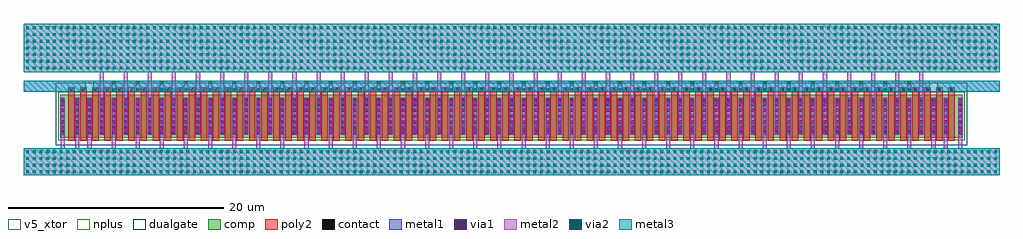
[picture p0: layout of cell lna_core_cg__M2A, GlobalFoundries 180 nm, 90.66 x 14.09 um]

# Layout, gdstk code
import gdstk
lib = gdstk.Library(unit=1e-6, precision=1e-09)
def R(c, l, rs):  # rectangles x0, y0, x1, y1
    for r in rs: c.add(gdstk.rectangle(r[:2], r[2:], *l))
def A(c, l, x, y, w, h, nx, ny, dx, dy):  # array of equal rectangles
    R(c, l, [(x+i*dx, y+j*dy, x+i*dx+w, y+j*dy+h) for i in range(nx) for j in range(ny)])
comp = (22, 0)
poly2 = (30, 0)
nplus = (32, 0)
contact = (33, 0)
metal1 = (34, 0)
via1 = (35, 0)
metal2 = (36, 0)
via2 = (38, 0)
metal3 = (42, 0)
dualgate = (55, 0)
v5_xtor = (112, 1)

lna_core_cg__m2a_pcell = lib.new_cell('lna_core_cg__M2A_pcell')
R(lna_core_cg__m2a_pcell, comp, [(-0.42,0,0,4), (0,0,82.98,4), (82.98,0,83.4,4)])
A(lna_core_cg__m2a_pcell, poly2, 0.31, -0.3, 0.6, 4.6, 74, 1, 1.12, 0)
A(lna_core_cg__m2a_pcell, poly2, 0.31, 4.3, 0.6, 0.36, 74, 1, 1.12, 0)
R(lna_core_cg__m2a_pcell, nplus, [(-0.59,-0.24,83.57,4.24)])
A(lna_core_cg__m2a_pcell, contact, -0.32, 0.36, 0.22, 0.22, 1, 7, 0, 0.51)
A(lna_core_cg__m2a_pcell, contact, 1.06, 0.36, 0.22, 0.22, 73, 7, 1.12, 0.51)
A(lna_core_cg__m2a_pcell, contact, 83.08, 0.36, 0.22, 0.22, 1, 7, 0, 0.51)
A(lna_core_cg__m2a_pcell, contact, 0.5, 4.37, 0.22, 0.22, 74, 1, 1.12, 0)
A(lna_core_cg__m2a_pcell, metal1, 0.98, 0.28, 0.38, 3.44, 73, 1, 1.12, 0)
A(lna_core_cg__m2a_pcell, metal1, 0.42, 4.285, 0.38, 0.39, 74, 1, 1.12, 0)
R(lna_core_cg__m2a_pcell, metal1, [(-0.4,0.28,-0.02,3.72), (83,0.28,83.38,3.72)])
R(lna_core_cg__m2a_pcell, dualgate, [(-0.84,-0.71,83.82,5.085)])
R(lna_core_cg__m2a_pcell, v5_xtor, [(-0.84,-0.71,83.82,5.085)])

lna_core_cg__m2a = lib.new_cell('lna_core_cg__M2A')
R(lna_core_cg__m2a, metal1, [(-3.84,4.285,1.92,5.285), (2.66,4.285,80.32,5.285), (81.06,4.285,86.82,5.285)])
A(lna_core_cg__m2a, via1, -0.34, 0.63, 0.26, 0.26, 1, 5, 0, 0.62)
A(lna_core_cg__m2a, via1, 1.04, 0.63, 0.26, 0.26, 73, 5, 1.12, 0.62)
A(lna_core_cg__m2a, via1, 83.06, 0.63, 0.26, 0.26, 1, 5, 0, 0.62)
A(lna_core_cg__m2a, via1, 4.4, 4.345, 0.26, 0.26, 34, 2, 2.24, 0.62)
A(lna_core_cg__m2a, metal2, 2.1, -1.5, 0.38, 5.22, 36, 1, 2.24, 0)
A(lna_core_cg__m2a, metal2, 3.22, 0.28, 0.38, 6.305, 35, 1, 2.24, 0)
A(lna_core_cg__m2a, metal2, 4.34, 4.285, 0.38, 1, 34, 1, 2.24, 0)
R(lna_core_cg__m2a, metal2, [(-3.84,-3.5,86.82,-1), (-0.4,-1.5,-0.02,3.72), (0.98,-1.5,1.36,3.72), (81.62,-1.5,82,3.72), (83,-1.5,83.38,3.72), (-3.84,6.085,86.82,10.585)])
A(lna_core_cg__m2a, via2, -3.59, -3.31, 0.26, 0.26, 146, 4, 0.62, 0.62)
A(lna_core_cg__m2a, via2, 4.4, 4.345, 0.26, 0.26, 34, 2, 2.24, 0.62)
A(lna_core_cg__m2a, via2, -3.59, 6.345, 0.26, 0.26, 146, 7, 0.62, 0.62)
R(lna_core_cg__m2a, metal3, [(-3.84,-3.5,86.82,-1), (-3.84,4.285,86.82,5.285), (-3.84,6.085,86.82,10.585)])
lna_core_cg__m2a.add(gdstk.Reference(lna_core_cg__m2a_pcell, (0,0)))

lib.write_gds('lna_core_cg__M2A.gds')
